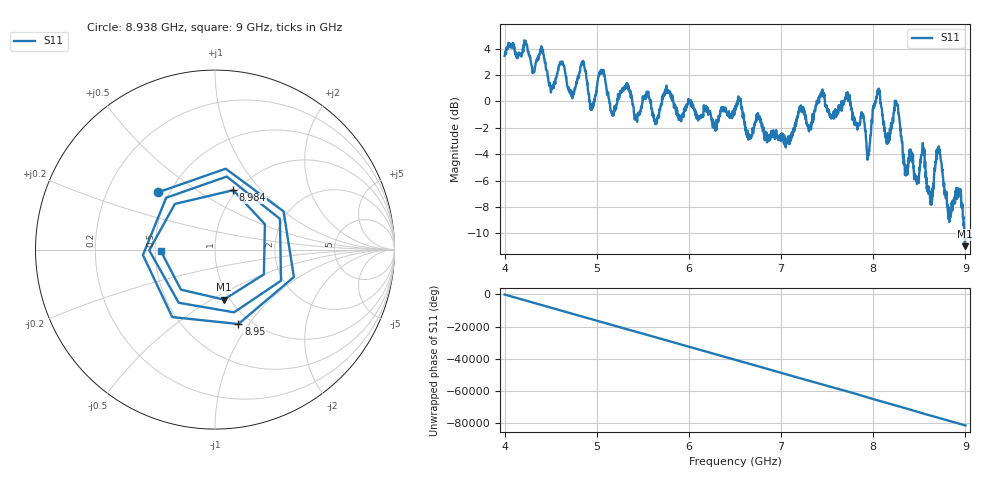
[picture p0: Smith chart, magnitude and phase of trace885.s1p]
! Created with skrf 1.8.0 (http://scikit-rf.org).
# Hz S RI R 50.0
!freq ReS11 ImS11
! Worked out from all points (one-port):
!   1601 points, 4 GHz to 9 GHz, reference 50 ohm
!   lowest |S11| = -11.0 dB at 8.994 GHz (marker M1), VSWR 1.79, Z = 46.8 - j28.4 ohm
!   |S11| at or under -10 dB: 8.987476 GHz to end of sweep
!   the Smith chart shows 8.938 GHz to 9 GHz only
!   S11 on the Smith chart (normalised r, x): 8.938 GHz: 0.43, +0.35; 8.95 GHz: 0.87, -0.89; 8.984 GHz: 0.96, +0.72; 9 GHz: 0.53, -0.01
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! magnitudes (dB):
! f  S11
! 4 GHz  3.5
! 4.406 GHz  4.0
! 4.506 GHz  1.0
! 4.625 GHz  2.8
! 4.728 GHz  0.4
! 4.856 GHz  2.9
! 4.944 GHz  -0.6
! 5.053 GHz  2.1
! 5.162 GHz  -0.9
! 5.25 GHz  0.5
! 5.875 GHz  -0.9
! 6.5 GHz  -0.7
! 7.125 GHz  -2.6
! 7.75 GHz  0.0
! 7.944 GHz  -4.1
! 8.047 GHz  0.8
! 8.153 GHz  -2.9
! 8.253 GHz  -0.1
! 8.375 GHz  -4.8
! 8.541 GHz  -3.8
! 8.622 GHz  -7.1
! 8.709 GHz  -3.6
! 8.825 GHz  -9.1
! 8.938 GHz  -6.9
! 8.95 GHz  -7.2
! 8.984 GHz  -9.2
! 8.994 GHz  -11.0
! 9 GHz  -10.4
